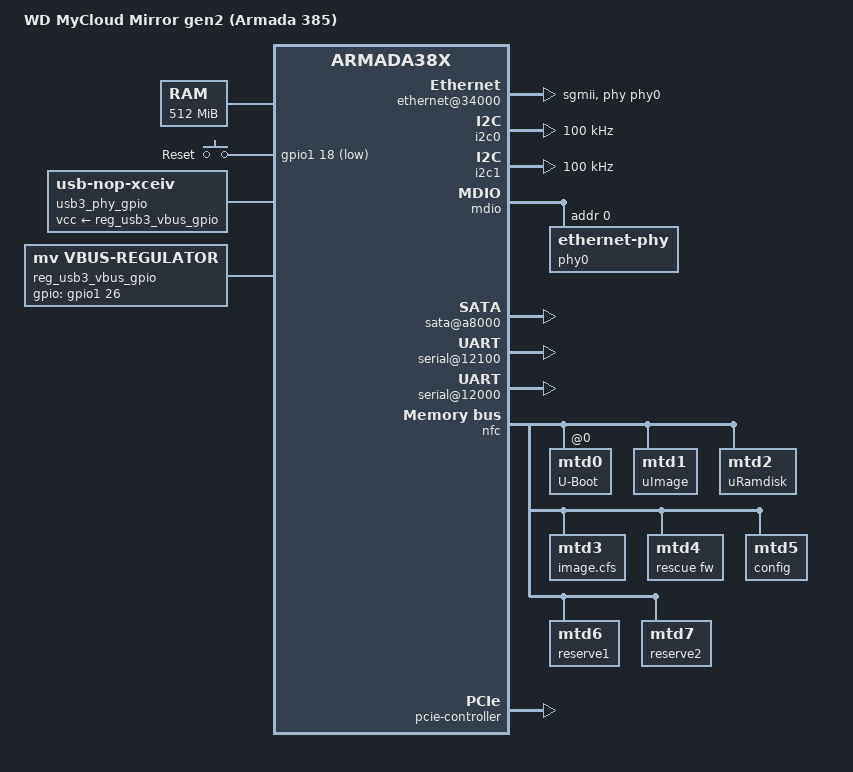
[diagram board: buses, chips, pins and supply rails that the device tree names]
/*
 * Device Tree file for WD My Cloud Mirror Gen2, based on Marvell Armada 385 SoC
 *
 * Allester Fox <fox.axon@gmail.com>
 *
 * This file is licensed under the terms of the GNU General Public
 * License version 2.  This program is licensed "as is" without any
 * warranty of any kind, whether express or implied.
 */

/dts-v1/;
#include <dt-bindings/gpio/gpio.h>
#include <dt-bindings/input/input.h>
#include <dt-bindings/interrupt-controller/irq.h>
#include "armada-385-388.dtsi"

/ {
	model = "WD MyCloud Mirror gen2 (Armada 385)";
	compatible = "marvell,a385-db", "marvell,armada385", "marvell,armada38x";

	chosen {
		bootargs = "console=ttyS0,115200 earlyprintk";
	};

	memory {
		device_type = "memory";
		reg = <0x00000000 0x20000000>; /* 512 MB */
	};

	soc {

		internal-regs {
			ethernet@34000 {
				status = "okay";
				phy = <&phy0>;
				phy-mode = "sgmii";
			};

			i2c0: i2c@11000 {
				status = "okay";
				clock-frequency = <100000>;
			};

			i2c1: i2c@11100 {
				status = "okay";
				clock-frequency = <100000>;
			};

			mdio {
				phy0: ethernet-phy@0 {
					reg = <0>;
				};
			};

			sata@a8000 {
				status = "okay";
			};

			sdhci@d8000 {
				broken-cd;
				wp-inverted;
				bus-width = <8>;
				status = "disabled";
				no-1-8-v;
			};

			serial@12100 {
				status = "okay";
			};
      
			serial@12000 {
				status = "okay";
			};

			spi0: spi@10600 {
				status = "disabled";
			};

			spi1: spi@10680 {
				status = "disabled";
			};

			nfc: nand@d0000 {
				status = "okay";
				#address-cells = <1>;
				#size-cells = <1>;

				nfc,nfc-mode  = "normal";	/* normal or ganged */
				nfc,nfc-dma   = <0>;		/* 0 for no, 1 for dma */
				nfc,nfc-width = <8>;
				nfc,ecc-type  = <1>;		/* 4 bit */
				nfc,num-cs    = <1>;

				mtd0@00000000 {
					label = "U-Boot";
					reg = <0x00000000 0x00500000>;
					read-only;
				};

				mtd1@00500000 {
					label = "uImage";
					reg = <0x00500000 0x00500000>;
				};

				mtd2@00a00000 {
					label = "uRamdisk";
					reg = <0x00a00000 0x00500000>;
				};
				
				mtd3@00f00000 {
					label = "image.cfs";
					reg = <0x00f00000 0x0b900000>;
				};

				mtd4@c800000 {
					label = "rescue fw";
					reg = <0x0c800000 0x00f00000>;
				};
				
				mtd5@d70000 {
					label = "config";
					reg = <0x0d700000 0x01400000>; 
				};
				
				mtd6@eb00000 {
					label = "reserve1";
					reg = <0x0eb00000 0x00a00000>;
				};
				
				mtd7@f500000 {
					label = "reserve2";
					reg = <0x0f500000 0x00a00000>;
				};
			};

			crypto@9D000 {
				status = "okay";
			};

			pm_pic {
				pinctrl-0 = <&pic_pins>;
				pinctrl-names = "default";
				ctrl-gpios = <&gpio0 21 GPIO_ACTIVE_LOW>,
					     <&gpio1 15 GPIO_ACTIVE_LOW>;
			};

			pinctrl {
				xhci0_vbus_pins: xhci0-vbus-pins {
					marvell,pins = "mpp26";
					marvell,function = "gpio";
				};
				pic_pins: pic-pins-0 {
					marvell,pins = "mpp21", "mpp47";
					marvell,function = "gpio";
				};
				btn_pins: btn-pins {
					marvell,pins = "mpp50";
					marvell,function = "gpio";
				};
			};

			gpio_keys {
				compatible = "gpio-keys";
				#address-cells = <1>;
				#size-cells = <0>;
				pinctrl-0 = <&btn_pins>;
				pinctrl-names = "default";

				button@1 {
					label = "Reset";
					linux,code = <KEY_RESTART>;
					gpios = <&gpio1 18 GPIO_ACTIVE_LOW>;
					gpio-key,wakeup;
				};
			};
		};

		pcie-controller {
			status = "okay";
			/*
			 * The two PCIe units are accessible through
			 * standard PCIe slots on the board.
			 */
			pcie@1,0 {
				/* Port 0, Lane 0 */
				status = "disabled";
			};
			pcie@2,0 {
				/* Port 1, Lane 0 */
				status = "disabled";
			};
		};
	};

	usb3_phy_gpio: usb3-phy-gpio {
		compatible = "usb-nop-xceiv";
		vcc-supply = <&reg_usb3_vbus_gpio>;
	};

	reg_usb3_vbus_gpio: usb3-vbus-gpio {
		compatible = "mv,vbus-regulator";
		pinctrl-names = "default";
		pinctrl-0 = <&xhci0_vbus_pins>;
		regulator-name = "xhci0-vbus";
		regulator-min-microvolt = <5000000>;
		regulator-max-microvolt = <5000000>;
		enable-active-high;
		regulator-always-on;
		gpio = <&gpio1 26 GPIO_ACTIVE_HIGH>;
		regulator-state-mem {
			regulator-off-in-suspend;
		};
	};
};
